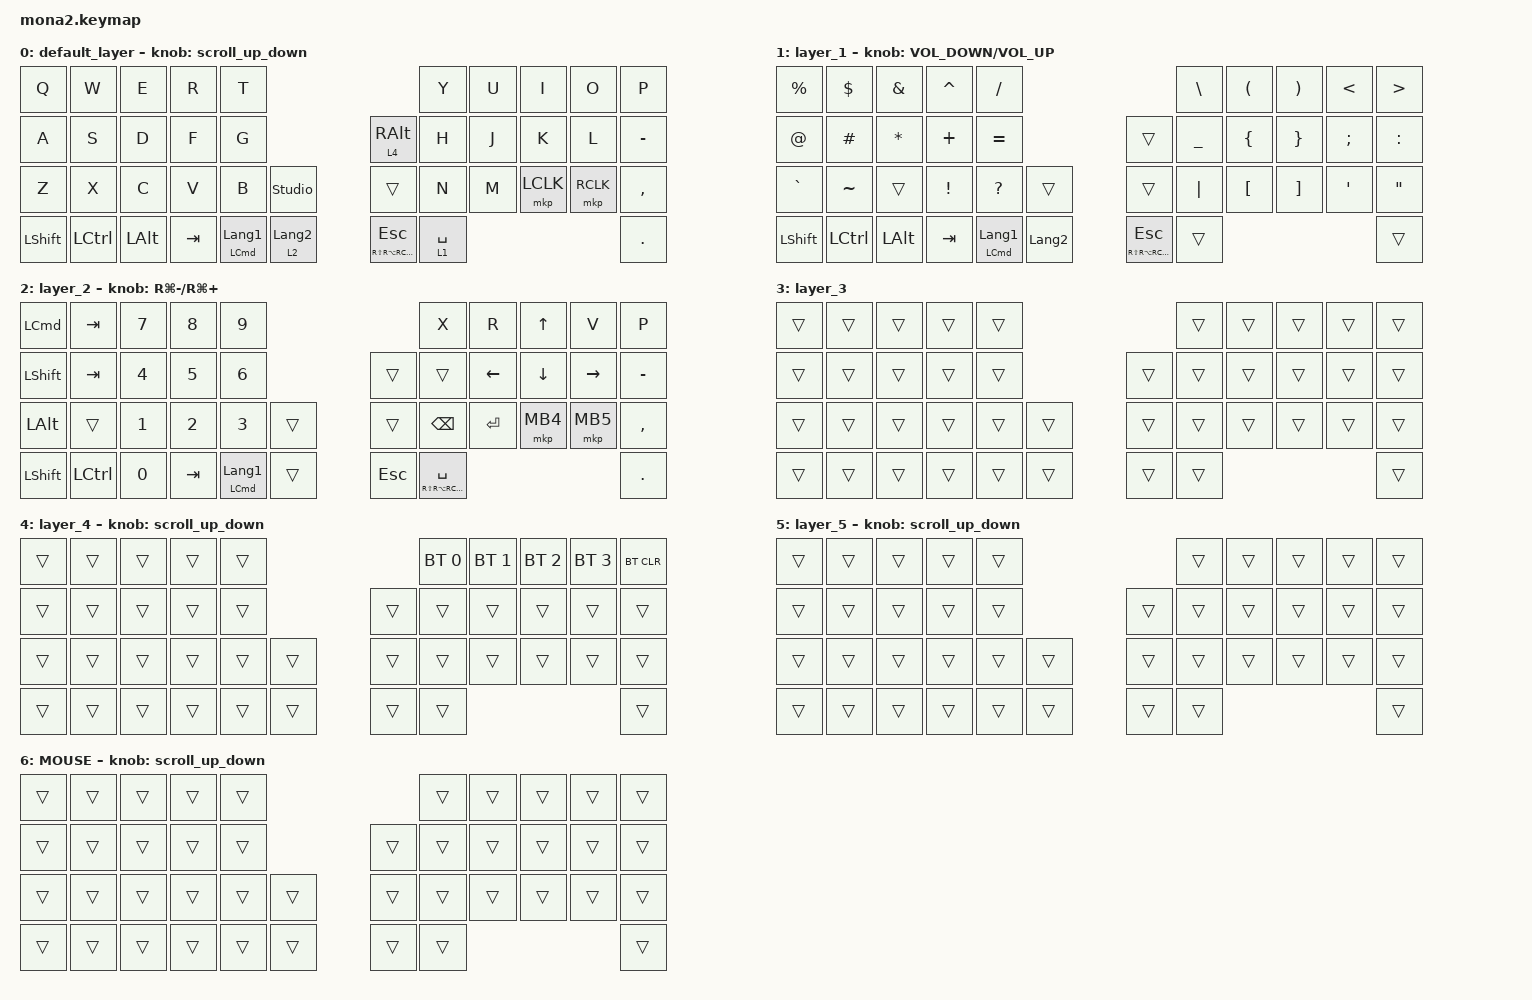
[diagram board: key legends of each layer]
#include <behaviors.dtsi>
#include <dt-bindings/zmk/bt.h>
#include <dt-bindings/zmk/keys.h>
#include <dt-bindings/zmk/pointing.h>

#define ZMK_POINTING_DEFAULT_SCRL_VAL 100
#define MOUSE 6

&mt {
    flavor = "balanced";
    quick-tap-ms = <175>;
    require-prior-idle-ms = <150>;
};

&lt {
    flavor = "hold-preferred";
    tapping-term-ms = <200>;
    quick-tap-ms = <200>;
    require-prior-idle-ms = <100>;
};

/ {
    combos { compatible = "zmk,combos"; };

    macros {
        to_layer_0: to_layer_0 {
            compatible = "zmk,behavior-macro-one-param";
            #binding-cells = <1>;
            bindings = <&to 0 &macro_param_1to1 &kp MACRO_PLACEHOLDER>;
            label = "TO_LAYER_0";
        };
    };

    behaviors {
        lt_to_layer_0: lt_to_layer_0 {
            compatible = "zmk,behavior-hold-tap";
            label = "LAYER_TAP_TO_0";
            bindings = <&mo>, <&to_layer_0>;

            #binding-cells = <2>;
            tapping-term-ms = <200>;
        };

        scroll_up_down: behavior_sensor_rotate_mouse_wheel_up_down {
            compatible = "zmk,behavior-sensor-rotate";
            #sensor-binding-cells = <0>;
            bindings = <&msc SCRL_UP>, <&msc SCRL_DOWN>;

            tap-ms = <20>;
        };
    };

    keymap {
        compatible = "zmk,keymap";

        default_layer {
            bindings = <
&kp Q           &kp W             &kp E         &kp R    &kp T                                                                              &kp Y        &kp U  &kp I      &kp O      &kp P
&kp A           &kp S             &kp D         &kp F    &kp G                                            &lt 4 RIGHT_ALT                   &kp H        &kp J  &kp K      &kp L      &kp MINUS
&kp Z           &kp X             &kp C         &kp V    &kp B                        &studio_unlock      &trans                            &kp N        &kp M  &mkp LCLK  &mkp RCLK  &kp COMMA
&kp LEFT_SHIFT  &kp LEFT_CONTROL  &kp LEFT_ALT  &kp TAB  &mt LEFT_COMMAND LANGUAGE_1  &lt 2 LANGUAGE_2    &mt RS(RA(RC(RIGHT_GUI))) ESCAPE  &lt 1 SPACE                               &kp PERIOD
            >;

            sensor-bindings = <&scroll_up_down>;
        };

        layer_1 {
            bindings = <
&kp PERCENT     &kp DOLLAR        &kp AMPERSAND  &kp CARET        &kp SLASH                                                                        &kp BACKSLASH   &kp LEFT_PARENTHESIS  &kp RIGHT_PARENTHESIS  &kp LESS_THAN  &kp GREATER_THAN
&kp AT_SIGN     &kp HASH          &kp ASTERISK   &kp PLUS         &kp EQUAL                                      &trans                            &kp UNDERSCORE  &kp LEFT_BRACE        &kp RIGHT_BRACE        &kp SEMICOLON  &kp COLON
&kp GRAVE       &kp TILDE         &trans         &kp EXCLAMATION  &kp QUESTION                 &trans            &trans                            &kp PIPE        &kp LEFT_BRACKET      &kp RIGHT_BRACKET      &kp SQT        &kp DOUBLE_QUOTES
&kp LEFT_SHIFT  &kp LEFT_CONTROL  &kp LEFT_ALT   &kp TAB          &mt LEFT_COMMAND LANGUAGE_1  &kp LANGUAGE_2    &mt RS(RA(RC(RIGHT_GUI))) ESCAPE  &trans                                                                      &trans
            >;

            sensor-bindings = <&inc_dec_kp C_VOLUME_DOWN C_VOLUME_UP>;
        };

        layer_2 {
            bindings = <
&kp LEFT_COMMAND  &kp TAB           &kp NUMBER_7  &kp NUMBER_8  &kp NUMBER_9                                       &kp X                            &kp R           &kp UP_ARROW    &kp V            &kp P
&kp LEFT_SHIFT    &kp TAB           &kp NUMBER_4  &kp NUMBER_5  &kp NUMBER_6                           &trans      &trans                           &kp LEFT_ARROW  &kp DOWN_ARROW  &kp RIGHT_ARROW  &kp MINUS
&kp LEFT_ALT      &trans            &kp NUMBER_1  &kp NUMBER_2  &kp NUMBER_3                 &trans    &trans      &kp BACKSPACE                    &kp ENTER       &mkp MB4        &mkp MB5         &kp COMMA
&kp LEFT_SHIFT    &kp LEFT_CONTROL  &kp NUMBER_0  &kp TAB       &mt LEFT_COMMAND LANGUAGE_1  &trans    &kp ESCAPE  &mt RS(RA(RC(RIGHT_GUI))) SPACE                                                   &kp PERIOD
            >;

            sensor-bindings = <&inc_dec_kp RG(MINUS) RG(PLUS)>;
        };

        layer_3 {
            bindings = <
&trans  &trans  &trans  &trans  &trans                    &trans  &trans  &trans  &trans  &trans
&trans  &trans  &trans  &trans  &trans            &trans  &trans  &trans  &trans  &trans  &trans
&trans  &trans  &trans  &trans  &trans  &trans    &trans  &trans  &trans  &trans  &trans  &trans
&trans  &trans  &trans  &trans  &trans  &trans    &trans  &trans                          &trans
            >;
        };

        layer_4 {
            bindings = <
&trans  &trans  &trans  &trans  &trans                    &bt BT_SEL 0  &bt BT_SEL 1  &bt BT_SEL 2  &bt BT_SEL 3  &bt BT_CLR
&trans  &trans  &trans  &trans  &trans            &trans  &trans        &trans        &trans        &trans        &trans
&trans  &trans  &trans  &trans  &trans  &trans    &trans  &trans        &trans        &trans        &trans        &trans
&trans  &trans  &trans  &trans  &trans  &trans    &trans  &trans                                                  &trans
            >;

            sensor-bindings = <&scroll_up_down>;
        };

        layer_5 {
            bindings = <
&trans  &trans  &trans  &trans  &trans                    &trans  &trans  &trans  &trans  &trans
&trans  &trans  &trans  &trans  &trans            &trans  &trans  &trans  &trans  &trans  &trans
&trans  &trans  &trans  &trans  &trans  &trans    &trans  &trans  &trans  &trans  &trans  &trans
&trans  &trans  &trans  &trans  &trans  &trans    &trans  &trans                          &trans
            >;

            sensor-bindings = <&scroll_up_down>;
        };

        MOUSE {
            bindings = <
&trans  &trans  &trans  &trans  &trans                    &trans  &trans  &trans  &trans  &trans
&trans  &trans  &trans  &trans  &trans            &trans  &trans  &trans  &trans  &trans  &trans
&trans  &trans  &trans  &trans  &trans  &trans    &trans  &trans  &trans  &trans  &trans  &trans
&trans  &trans  &trans  &trans  &trans  &trans    &trans  &trans                          &trans
            >;

            sensor-bindings = <&scroll_up_down>;
        };
    };
};
